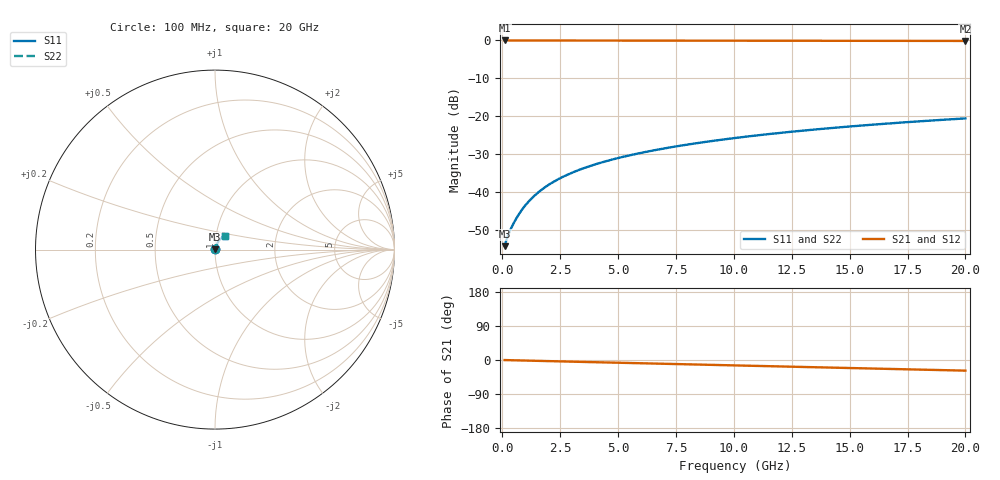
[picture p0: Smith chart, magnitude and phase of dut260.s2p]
! Touchstone file exported from HFSS 2026.1.0
!  File:  C:/ffzhzh/LocalFiles/Ansys_Project_Files/temp_train_TMRDL_260_1782984987_42984.aedt
!  Generated:  05:37:36 PM Jul  2, 2026
!  Design:  TMRDL
!  Project:  temp_train_TMRDL_260_1782984987_42984
! Variables:
!  h_bsmrdl = 2um
!  h_ox = 20um
!  h_rdl = 5um
!  h_sub = 80um
!  h_tmrdl = 5.68um
!  h_tsv = 80um
!  h_via = 3um
!  l_bsmrdl = 300um
!  l_sub = 890.02um
!  l_tmrdl = 490.02um
!  m_sub = 200um
!  pitch = 28.48um
!  r_tsv = 6um
!  s_tmrdl = 10um
!  w_bsmrdl = 18um
!  w_sub = 500um
!  w_tmrdl = 20um
!  x_tsv_center1 = 500.02um
!  x_tsv_center2 = 818.02um
!  x_tsv_center3 = 1328.04um
!  x_tsv_center4 = 1646.04um
!  x_tsv_center5 = 2156.06um
!  x_tsv_center6 = 2474.06um
# GHz S MA R 50.000000
! Terminal data exported
! Port[1] = TM_RDL1_1_T1
! Port[2] = TM_RDL1_1_T2
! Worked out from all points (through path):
!   200 points, 100 MHz to 20 GHz, reference 50 ohm
!   highest |S21| = -0.02 dB at 100 MHz (marker M1); lowest = -0.1 dB at 20 GHz (marker M2)
!   group delay of S21, straight-line fit = 3.88 ps
!   lowest |S11| = -54.3 dB at 100 MHz (marker M3), VSWR 1.00, Z = 50.2 + j0.0871 ohm
!   |S11| at or under -10 dB: start of sweep to end of sweep
!   |S22| runs from -54.3 to -20.6 dB; largest |S21 - S12| = 7e-15
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0.1  0.001937 26.6  0.9983 -0.2  0.9983 -0.2  0.001937 26.6
! Gamma 0 0 0 0
! Port Impedance 50 0 50 0
0.2  0.002458 38.2  0.9981 -0.3  0.9981 -0.3  0.002459 38.2
0.3  0.00294 45.6  0.9979 -0.5  0.9979 -0.5  0.002941 45.6
0.4  0.003427 51.3  0.9978 -0.6  0.9978 -0.6  0.003428 51.3
0.6  0.004465 59.3  0.9976 -0.9  0.9976 -0.9  0.004466 59.3
0.7  0.005012 62.1  0.9976 -1.0  0.9976 -1.0  0.005012 62.1
0.9  0.006138 66.0  0.9975 -1.3  0.9975 -1.3  0.006138 66.0
1.1  0.007288 68.5  0.9973 -1.6  0.9973 -1.6  0.007288 68.5
1.3  0.008446 70.1  0.9972 -1.9  0.9972 -1.9  0.008446 70.1
1.7  0.01075 71.9  0.997 -2.5  0.997 -2.5  0.01075 71.9
2.2  0.01359 72.8  0.9966 -3.2  0.9966 -3.2  0.01358 72.8
2.8  0.01688 72.9  0.996 -4.1  0.996 -4.1  0.01688 72.9
3.5  0.02057 72.6  0.9954 -5.1  0.9954 -5.1  0.02057 72.6
4.2  0.02415 72.1  0.9948 -6.1  0.9948 -6.1  0.02415 72.1
5  0.02811 71.5  0.9941 -7.2  0.9941 -7.2  0.02811 71.4
5.9  0.03247 70.7  0.9934 -8.5  0.9934 -8.5  0.03247 70.7
6.8  0.03674 69.9  0.9927 -9.8  0.9927 -9.8  0.03674 69.8
8.3  0.04372 68.4  0.9916 -11.9  0.9916 -11.9  0.04372 68.4
10.1  0.05191 66.6  0.9904 -14.4  0.9904 -14.4  0.05191 66.5
13.4  0.06645 62.9  0.9883 -19.0  0.9883 -19.0  0.06646 62.9
16.7  0.08039 59.0  0.9862 -23.5  0.9862 -23.5  0.08039 59.0
20  0.09365 55.0  0.984 -28.1  0.984 -28.1  0.09365 55.0
